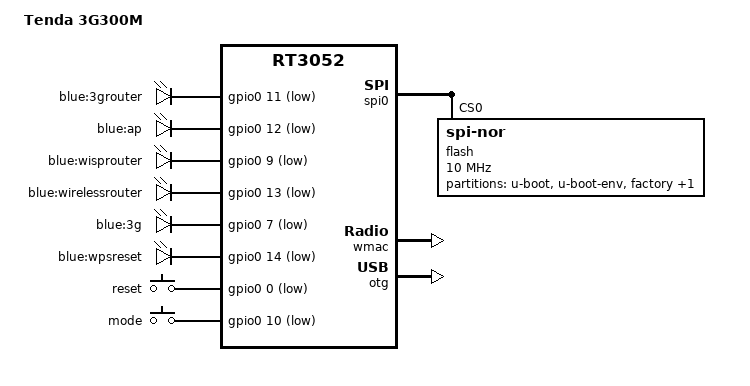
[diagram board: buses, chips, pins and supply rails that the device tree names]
#include "rt3050.dtsi"

#include <dt-bindings/gpio/gpio.h>
#include <dt-bindings/input/input.h>

/ {
	compatible = "tenda,3g300m", "ralink,rt3052-soc";
	model = "Tenda 3G300M";

	aliases {
		led-boot = &led_ap;
		led-failsafe = &led_ap;
		led-running = &led_ap;
		led-upgrade = &led_ap;
	};

	leds {
		compatible = "gpio-leds";

		3grouter {
			label = "blue:3grouter";
			gpios = <&gpio0 11 GPIO_ACTIVE_LOW>;
		};

		led_ap: ap {
			label = "blue:ap";
			gpios = <&gpio0 12 GPIO_ACTIVE_LOW>;
		};

		wisprouter {
			label = "blue:wisprouter";
			gpios = <&gpio0 9 GPIO_ACTIVE_LOW>;
		};

		wirelessrouter {
			label = "blue:wirelessrouter";
			gpios = <&gpio0 13 GPIO_ACTIVE_LOW>;
		};

		3g {
			label = "blue:3g";
			gpios = <&gpio0 7 GPIO_ACTIVE_LOW>;
			trigger-sources = <&otg_port1>;
			linux,default-trigger = "usbport";
		};

		wpsreset {
			label = "blue:wpsreset";
			gpios = <&gpio0 14 GPIO_ACTIVE_LOW>;
		};
	};

	keys {
		compatible = "gpio-keys-polled";
		poll-interval = <20>;

		reset {
			label = "reset";
			gpios = <&gpio0 0 GPIO_ACTIVE_LOW>;
			linux,code = <KEY_RESTART>;
		};

		mode {
			label = "mode";
			gpios = <&gpio0 10 GPIO_ACTIVE_LOW>;
			linux,code = <BTN_0>;
		};
	};
};

&spi0 {
	status = "okay";

	flash@0 {
		compatible = "jedec,spi-nor";
		reg = <0>;
		spi-max-frequency = <10000000>;

		partitions {
			compatible = "fixed-partitions";
			#address-cells = <1>;
			#size-cells = <1>;

			partition@0 {
				label = "u-boot";
				reg = <0x0 0x30000>;
				read-only;
			};

			partition@30000 {
				label = "u-boot-env";
				reg = <0x30000 0x10000>;
				read-only;
			};

			factory: partition@40000 {
				label = "factory";
				reg = <0x40000 0x10000>;
				read-only;
			};

			partition@50000 {
				compatible = "denx,uimage";
				label = "firmware";
				reg = <0x50000 0x3b0000>;
			};
		};
	};
};

&state_default {
	gpio {
		groups = "i2c", "jtag", "rgmii", "mdio", "uartf";
		function = "gpio";
	};
};

&ethernet {
	mtd-mac-address = <&factory 0x4>;
};

&esw {
	mediatek,portmap = <0x2f>;
};

&wmac {
	ralink,mtd-eeprom = <&factory 0x0>;
};

&otg {
	status = "okay";
};
